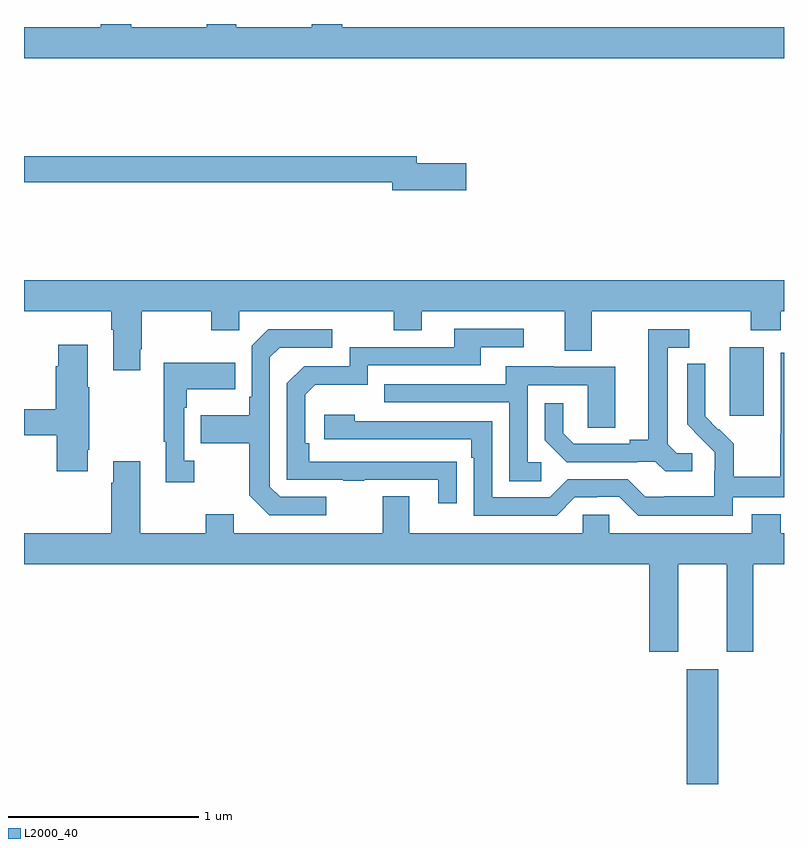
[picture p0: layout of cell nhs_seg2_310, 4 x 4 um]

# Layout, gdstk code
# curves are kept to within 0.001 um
import gdstk
lib = gdstk.Library(unit=1e-6, precision=1e-09)
def R(c, l, rs):  # rectangles x0, y0, x1, y1
    for r in rs: c.add(gdstk.rectangle(r[:2], r[2:], *l))
def P(c, l, *ps):  # polygons
    for p in ps: c.add(gdstk.Polygon(p, *l))
L2000_40 = (2000, 40)

nhs_seg2_310 = lib.new_cell('nhs_seg2_310')
R(nhs_seg2_310, L2000_40, [(128.489,659.8,128.653,660.403), (128.714,661.737,128.893,662.098)])
P(nhs_seg2_310, L2000_40, [(129,663.784),(126.674,663.784),(126.674,663.8),(126.514,663.8),(126.514,663.784),(126.116,663.784),(126.116,663.8),(125.962,663.8),(125.962,663.784),(125.565,663.784),(125.565,663.8),(125.405,663.8),(125.405,663.784),(125,663.784),(125,663.62),(129,663.62)],
  [(127.327,663.068),(127.066,663.068),(127.066,663.104),(125,663.104),(125,662.968),(126.938,662.968),(126.938,662.926),(127.327,662.926)],
  [(125.611,662.089),(125.619,662.089),(125.619,662.288),(125.986,662.288),(125.986,662.189),(126.132,662.189),(126.132,662.288),(126.946,662.288),(126.946,662.189),(127.093,662.189),(127.093,662.288),(127.847,662.288),(127.847,662.08),(127.987,662.08),(127.987,662.288),(128.824,662.288),(128.824,662.189),(128.983,662.189),(128.983,662.288),(129,662.288),(129,662.452),(125,662.452),(125,662.288),(125.459,662.288),(125.459,662.192),(125.471,662.192),(125.471,661.977),(125.611,661.977)],
  [(127.277,661.496),(126.5,661.497),(126.5,661.594),(126.48,661.594),(126.48,661.848),(126.533,661.901),(126.81,661.901),(126.81,662.004),(127.405,662.004),(127.405,662.1),(127.63,662.1),(127.63,662.196),(127.265,662.196),(127.265,662.1),(126.714,662.1),(126.714,661.998),(126.474,661.998),(126.384,661.908),(126.384,661.401),(126.679,661.401),(126.679,661.396),(126.791,661.396),(126.791,661.401),(127.181,661.401),(127.181,661.278),(127.277,661.278)],
  [(128.518,661.542),(128.436,661.542),(128.389,661.589),(128.389,662.097),(128.5,662.097),(128.5,662.193),(128.285,662.193),(128.285,661.613),(128.189,661.613),(128.189,661.59),(127.894,661.59),(127.837,661.647),(127.837,661.804),(127.74,661.804),(127.74,661.61),(127.856,661.494),(128.228,661.494),(128.228,661.497),(128.322,661.497),(128.374,661.445),(128.518,661.445)],
  [(126.592,661.311),(126.348,661.311),(126.294,661.365),(126.294,662.046),(126.345,662.097),(126.622,662.097),(126.622,662.193),(126.285,662.193),(126.198,662.106),(126.198,661.837),(126.186,661.837),(126.186,661.741),(125.929,661.741),(125.929,661.594),(126.186,661.594),(126.186,661.321),(126.291,661.215),(126.592,661.215)],
  [(125.335,661.558),(125.343,661.558),(125.343,661.889),(125.335,661.889),(125.335,662.113),(125.18,662.113),(125.18,662),(125.168,662),(125.168,661.772),(125,661.772),(125,661.636),(125.173,661.636),(125.173,661.446),(125.335,661.446)],
  [(128.73,661.308),(129,661.308),(129,662.07),(128.982,662.07),(128.982,661.64),(128.98,661.64),(128.98,661.417),(128.735,661.417),(128.735,661.591),(128.658,661.668),(128.655,661.665),(128.585,661.736),(128.586,662.012),(128.49,662.012),(128.49,661.694),(128.636,661.546),(128.636,661.449),(128.634,661.449),(128.634,661.315),(128.371,661.315),(128.371,661.311),(128.271,661.311),(128.178,661.404),(127.863,661.404),(127.767,661.308),(127.464,661.308),(127.464,661.71),(126.74,661.71),(126.74,661.744),(126.579,661.744),(126.579,661.614),(127.355,661.614),(127.355,661.517),(127.368,661.517),(127.368,661.212),(127.803,661.212),(127.899,661.308),(128.018,661.308),(128.018,661.311),(128.133,661.311),(128.233,661.211),(128.73,661.211)],
  [(125.896,661.502),(125.844,661.502),(125.844,661.781),(125.857,661.781),(125.857,661.877),(126.113,661.877),(126.113,662.017),(125.736,662.017),(125.736,661.601),(125.747,661.601),(125.747,661.389),(125.896,661.389)],
  [(127.723,661.494),(127.65,661.494),(127.65,661.899),(127.968,661.899),(127.968,661.675),(128.113,661.675),(128.113,661.995),(127.789,661.995),(127.789,661.999),(127.535,661.999),(127.535,661.905),(126.895,661.905),(126.895,661.809),(127.554,661.809),(127.554,661.393),(127.723,661.393)],
  [(128.443,660.956),(128.699,660.956),(128.699,660.495),(128.839,660.495),(128.839,660.956),(129,660.956),(129,661.12),(128.983,661.12),(128.983,661.219),(128.831,661.219),(128.831,661.12),(128.079,661.12),(128.079,661.218),(127.941,661.218),(127.941,661.12),(127.027,661.12),(127.027,661.315),(126.887,661.315),(126.887,661.12),(126.103,661.12),(126.103,661.219),(125.956,661.219),(125.956,661.12),(125.611,661.12),(125.611,661.498),(125.471,661.498),(125.471,661.385),(125.459,661.385),(125.459,661.12),(125,661.12),(125,660.956),(128.291,660.956),(128.291,660.495),(128.443,660.495)])

lib.write_gds('nhs_seg2_310.gds')
